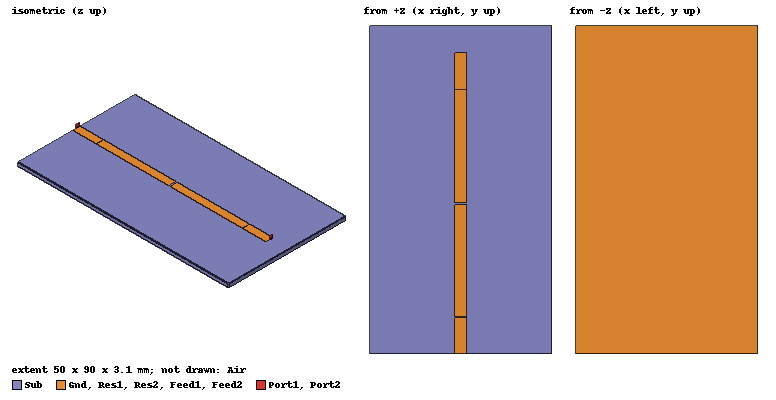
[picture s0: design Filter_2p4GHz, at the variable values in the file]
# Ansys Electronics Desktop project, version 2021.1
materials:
  vacuum: permittivity=1
  FR4_epoxy: permittivity=4.4 dielectric_loss_tangent=0.02

design Filter_2p4GHz (HFSS, DrivenModal, model units mm)
options: Save_Adaptive_support_files
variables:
  y1 = 30.8mm
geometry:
  Sub [FR4_epoxy] = box(corner=(0mm, 0mm, -1.6mm), size=(50mm, 90mm, 1.6mm))
  Gnd = rectangle(corner=(0mm, 0mm, -1.6mm), x_size=50mm, y_size=90mm)
  Feed1 = rectangle(corner=(23.45mm, 0mm, 0mm), x_size=3.1mm, y_size=10mm)
  Res1 = rectangle(corner=(23.45mm, 10.15mm, 0mm), x_size=3.1mm, y_size=y1)
  Res2 = rectangle(corner=(23.45mm, 41.55mm, 0mm), x_size=3.1mm, y_size=y1)
  Feed2 = rectangle(corner=(23.45mm, 72.5mm, 0mm), x_size=3.1mm, y_size=10mm)
  Port1 = rectangle(corner=(23.45mm, 0mm, -1.6mm), z_size=3.1mm, x_size=1.6mm)
  Port2 = rectangle(corner=(23.45mm, 82.5mm, -1.6mm), z_size=3.1mm, x_size=1.6mm)
  Air [vacuum] = box(corner=(-15mm, -15mm, -16.6mm), size=(80mm, 120mm, 31.6mm))
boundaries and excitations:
  PE1: Perfect E Objects=Gnd
  PE2: Perfect E Objects=Feed1
  PE3: Perfect E Objects=Res1
  PE4: Perfect E Objects=Res2
  PE5: Perfect E Objects=Feed2
  Rad: Radiation Objects=Air
  1: Lumped Port Objects=Port1 Modes{Mode1{IntLine{Port1.edge(z at corner) at 0.0313 along -> middle of Feed1.edge(y at corner)} CharImp=Zpi RenormImp=50ohm}} Impedance=50ohm
  2: Lumped Port Objects=Port2 Modes{Mode1{IntLine{Port2.edge(z at corner) at 0.0313 along -> middle of Feed2.edge(y opposite corner)} CharImp=Zpi RenormImp=50ohm}} Impedance=50ohm
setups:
  Setup1: HfssDriven Frequency=2.44GHz MaxDeltaS=0.02 MaximumPasses=10 MinimumPasses=1 MinimumConvergedPasses=1 PercentRefinement=30 BasisOrder=1 PortAccuracy=2
    sweep Sweep: 1.5GHz to 3.5GHz, 201 points; Type=Interpolating InterpTolerance=0.5 InterpMaxSolns=250 InterpUsePortImped=false PassivityErrorTolerance=0.0001
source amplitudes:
  1:1: 1W 0deg
  2:1: 0W 0deg
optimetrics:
  ParametricSetup1: Parametric Sim._Setups=[Setup1]
    sweep y1: LIN 30mm 31mm 0.1mm
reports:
  S Parameter Plot 1: dB(S(1,1)), dB(S(2,1)) vs Freq on Setup1 : Sweep; markers m1 at 2.43GHz, m2 at 2.41GHz, m3 at 2.44GHz
